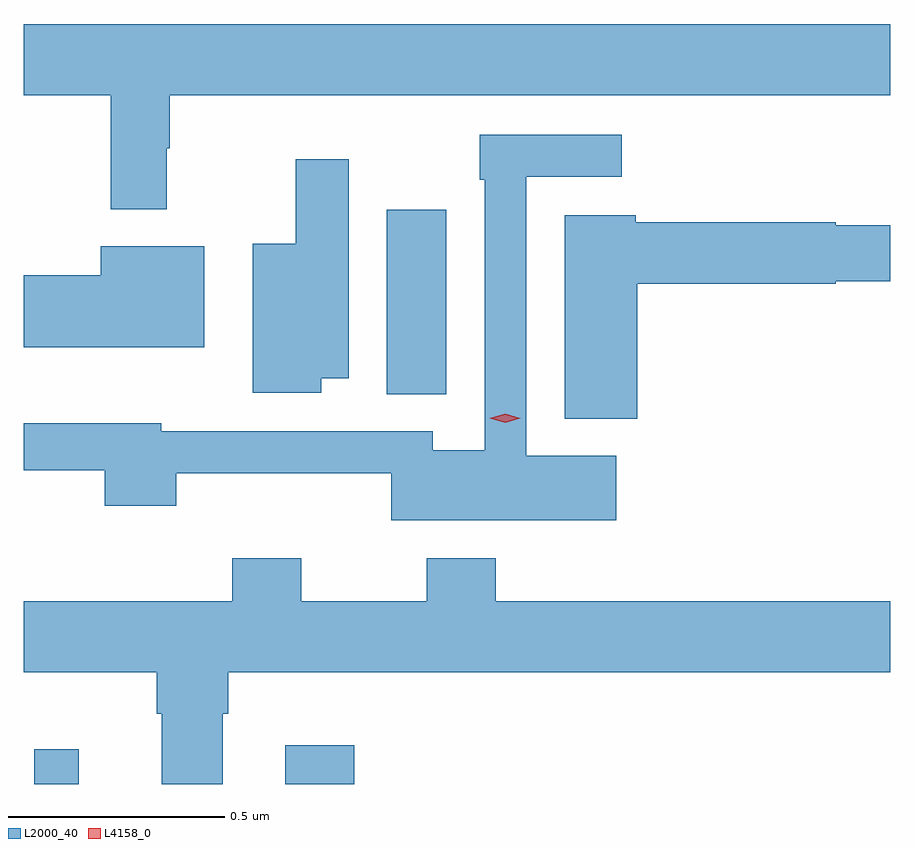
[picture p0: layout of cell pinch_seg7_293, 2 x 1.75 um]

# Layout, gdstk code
import gdstk
lib = gdstk.Library(unit=1e-6, precision=1e-09)
def R(c, l, rs):  # rectangles x0, y0, x1, y1
    for r in rs: c.add(gdstk.rectangle(r[:2], r[2:], *l))
def P(c, l, *ps):  # polygons
    for p in ps: c.add(gdstk.Polygon(p, *l))
L2000_40 = (2000, 40)
L4158_0 = (4158, 0)

pinch_seg7_293 = lib.new_cell('pinch_seg7_293')
R(pinch_seg7_293, L2000_40, [(585.892,1040.318,585.995,1040.398), (586.472,1040.318,586.631,1040.407), (586.706,1041.217,586.843,1041.643)])
P(pinch_seg7_293, L2000_40, [(586.198,1041.785),(586.205,1041.785),(586.205,1041.908),(587.868,1041.908),(587.868,1042.072),(585.868,1042.072),(585.868,1041.908),(586.069,1041.908),(586.069,1041.645),(586.198,1041.645)],
  [(587.236,1041.076),(587.028,1041.076),(587.028,1041.72),(587.248,1041.72),(587.248,1041.816),(586.92,1041.816),(586.92,1041.713),(586.932,1041.713),(586.932,1041.088),(586.812,1041.088),(586.812,1041.132),(586.185,1041.132),(586.185,1041.151),(585.868,1041.151),(585.868,1041.042),(586.055,1041.042),(586.055,1040.96),(586.22,1040.96),(586.22,1041.035),(586.716,1041.035),(586.716,1040.927),(587.236,1040.927)],
  [(586.555,1041.254),(586.618,1041.254),(586.618,1041.76),(586.496,1041.76),(586.496,1041.565),(586.397,1041.565),(586.397,1041.221),(586.555,1041.221)],
  [(587.284,1041.473),(587.742,1041.473),(587.742,1041.478),(587.868,1041.478),(587.868,1041.607),(587.742,1041.607),(587.742,1041.615),(587.28,1041.615),(587.28,1041.631),(587.117,1041.631),(587.117,1041.161),(587.284,1041.161)],
  [(586.285,1041.559),(586.046,1041.559),(586.046,1041.492),(585.868,1041.492),(585.868,1041.326),(586.285,1041.326)],
  [(586.327,1040.48),(586.34,1040.48),(586.34,1040.576),(587.868,1040.576),(587.868,1040.74),(586.958,1040.74),(586.958,1040.839),(586.798,1040.839),(586.798,1040.74),(586.509,1040.74),(586.509,1040.839),(586.349,1040.839),(586.349,1040.74),(585.868,1040.74),(585.868,1040.576),(586.175,1040.576),(586.175,1040.48),(586.187,1040.48),(586.187,1040.318),(586.327,1040.318)])
P(pinch_seg7_293, L4158_0, [(586.979,1041.152),(586.944,1041.162),(586.944,1041.162),(586.944,1041.162),(586.979,1041.172),(587.014,1041.162),(587.014,1041.162),(587.014,1041.162)])

lib.write_gds('pinch_seg7_293.gds')
